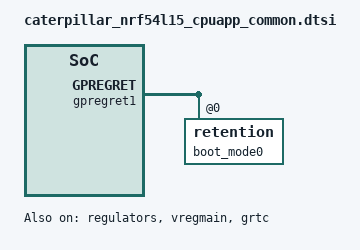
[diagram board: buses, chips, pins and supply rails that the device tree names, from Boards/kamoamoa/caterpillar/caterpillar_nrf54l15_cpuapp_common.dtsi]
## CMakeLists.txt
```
cmake_minimum_required(VERSION 3.20.0)

# Adding board defined in this project to the board searching list
list(APPEND BOARD_ROOT ${CMAKE_CURRENT_SOURCE_DIR})

find_package(Zephyr REQUIRED HINTS $ENV{ZEPHYR_BASE})
project(caterpillar)
# Embed the FLPR (RISC-V coprocessor) firmware into this image so app
# OTA updates carry it (version-atomic).  The FLPR is configured here on
# first use and incrementally rebuilt on every app build, so a plain
# `west build` of the app picks up FLPR source changes automatically.
set(FLPR_BUILD_DIR ${CMAKE_CURRENT_SOURCE_DIR}/build-flpr)
set(FLPR_BIN ${FLPR_BUILD_DIR}/zephyr/zephyr.bin)

# First-time bootstrap runs a nested west build; the outer (ARM) app
# configure leaks toolchain environment into it, which poisons the
# RISC-V compiler discovery (verified from a clean clone: FLPR files
# compiled with arm-zephyr-eabi-gcc).  Scrub those variables.
if(NOT EXISTS ${FLPR_BIN})
    message(STATUS "FLPR: first-time configure+build of ${FLPR_BUILD_DIR}")
    execute_process(
        COMMAND ${CMAKE_COMMAND} -E env
                --unset=CC --unset=CXX --unset=ASM
                --unset=CROSS_COMPILE --unset=TOOLCHAIN_HOME
                --unset=ZEPHYR_TOOLCHAIN_VARIANT
                --unset=CMAKE_TOOLCHAIN_FILE
                ${PYTHON_EXECUTABLE} -m west build
                -b caterpillar/nrf54l15/cpuflpr
                --build-dir ${FLPR_BUILD_DIR}
                ${CMAKE_CURRENT_SOURCE_DIR}/flpr --no-sysbuild --pristine
        WORKING_DIRECTORY ${CMAKE_CURRENT_SOURCE_DIR}
        RESULT_VARIABLE flpr_rc
    )
    if(NOT flpr_rc EQUAL 0 OR NOT EXISTS ${FLPR_BIN})
        message(FATAL_ERROR "FLPR build failed (see output above)")
    endif()
endif()

# The staged copy's mtime only changes when the FLPR binary content
# changed, so an unchanged FLPR does not re-embed or re-link the app.
set(FLPR_STAGED ${CMAKE_BINARY_DIR}/flpr_staged.bin)
execute_process(COMMAND ${CMAKE_COMMAND} -E copy_if_different
                        ${FLPR_BIN} ${FLPR_STAGED})
add_custom_target(flpr_build
    COMMAND ${CMAKE_COMMAND} --build ${FLPR_BUILD_DIR}
    COMMAND ${CMAKE_COMMAND} -E copy_if_different ${FLPR_BIN} ${FLPR_STAGED}
    BYPRODUCTS ${FLPR_STAGED}
    USES_TERMINAL
    COMMENT "FLPR: incremental rebuild"
)

set(FLPR_GEN_DIR ${ZEPHYR_BINARY_DIR}/misc/generated/flpr)
generate_inc_file_for_target(app ${FLPR_STAGED} ${FLPR_GEN_DIR}/flpr_image.inc)
add_dependencies(app flpr_build)
target_include_directories(app PRIVATE ${FLPR_GEN_DIR})

# Guard against settings drift: settings_gen.h (and protocol_limits.py,
# docs/settings.md) are generated MANUALLY from settings.yml and
# committed — the build itself has no pyyaml dependency.  This check
# makes forgetting to regenerate a hard error instead of silent drift.
set_property(DIRECTORY APPEND PROPERTY CMAKE_CONFIGURE_DEPENDS
             ${CMAKE_CURRENT_SOURCE_DIR}/settings.yml)
file(SHA1 ${CMAKE_CURRENT_SOURCE_DIR}/settings.yml SETTINGS_YML_SHA1)
file(READ ${CMAKE_CURRENT_SOURCE_DIR}/src/settings/settings_gen.h
     SETTINGS_GEN_CONTENT)
string(FIND "${SETTINGS_GEN_CONTENT}" "${SETTINGS_YML_SHA1}" SETTINGS_HASH_POS)
if(SETTINGS_HASH_POS EQUAL -1)
    message(FATAL_ERROR
        "settings.yml changed but generated files are stale.\n"
        "Run:  python scripts/generate_settings.py")
endif()

target_sources(app PRIVATE
    src/main.c
    src/app/app.c
    src/app/session.c
    src/app/device_cmd.c
    src/imu/imu_pump.c
    src/imu/imu_log.c
    src/imu/flpr_launch.c
    src/settings/settings_store.c
    src/ble/ble_interface.c
    src/ble/ble_transport.c
    src/drivers/driver_stbb1_apur.c
    src/drivers/driver_drv8212.c
    src/drivers/max5419.c
    src/drivers/driver_pwm.c
    src/drivers/driver_led.c
    src/drivers/driver_vdc_sense.c
)

# For common/imu_shared.h (shared with the FLPR image)
# Repo root (for common/imu_shared.h) and src/ (module-qualified
# includes: "app/session.h", "imu/imu_log.h", "ble/ble_transport.h"...)
target_include_directories(app PRIVATE
    ${CMAKE_CURRENT_SOURCE_DIR}
    ${CMAKE_CURRENT_SOURCE_DIR}/src)
```

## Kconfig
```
source "Kconfig.zephyr"

config MYFUNC
    bool "Enable my function"
    default n
```

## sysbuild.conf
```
# OTA DFU: MCUboot bootloader, simplest configuration.
#
# No signature key is configured on purpose — the build auto-signs with
# the SDK's public development key (warns "not secure"; accepted: this
# is a research device and DFU is intentionally open).
#
# Overwrite-only: uploaded image replaces the app on next reset, no
# swap/revert machinery.  A broken update is recovered over SWD.
SB_CONFIG_BOOTLOADER_MCUBOOT=y
SB_CONFIG_MCUBOOT_MODE_OVERWRITE_ONLY=y
```

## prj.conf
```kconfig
CONFIG_PRINTK=y
CONFIG_LOG=y

# LFRC (no 32k crystal): declare BLE-max sleep-clock inaccuracy and
# calibrate often — motor/DCDC noise perturbs the RC between calibrations
# (MPSL ASSERT 67,129 seen with 250ppm/4s while the motor runs)
CONFIG_CLOCK_CONTROL_NRF_K32SRC_500PPM=y
CONFIG_CLOCK_CONTROL_NRF_CALIBRATION_PERIOD=1000
CONFIG_MPSL_CALIBRATION_PERIOD=1000
# Large RTT up-buffer so full boot logs survive until a reader attaches
CONFIG_SEGGER_RTT_BUFFER_SIZE_UP=8192

CONFIG_I2C=y

# (IMU/spi21 is owned by the FLPR coprocessor — see flpr/)

# VDC sense on SAADC AIN4
CONFIG_ADC=y

# Reset-cause logging at boot
CONFIG_HWINFO=y

# BLE — peripheral GATT server, Write-Without-Response
CONFIG_BT=y
CONFIG_BT_PERIPHERAL=y
# Fleet identity: the real name is set at runtime ("Cat-NN" from the
# robot_id setting, or "Cat-XXXX" from the chip id while unassigned)
CONFIG_BT_DEVICE_NAME="Cat-??"
CONFIG_BT_DEVICE_NAME_DYNAMIC=y
CONFIG_BT_MAX_CONN=1
CONFIG_BT_MAX_PAIRED=1

# --- OTA DFU: MCUmgr SMP over BLE (open, dev-key signed images) ---
# MCUMGR *depends on* (doesn't select) these:
CONFIG_ZCBOR=y
CONFIG_NET_BUF=y
CONFIG_CRC=y
CONFIG_MCUMGR=y
CONFIG_MCUMGR_TRANSPORT_BT=y
CONFIG_MCUMGR_TRANSPORT_BT_REASSEMBLY=y
# Let clients query our buffer size so they use full-size upload chunks
CONFIG_MCUMGR_GRP_OS_MCUMGR_PARAMS=y
# Erase the target slot page-by-page during upload instead of all
# upfront — the bulk erase costs ~14 s on RRAM (measured) and stalls
# the first upload chunk
CONFIG_IMG_ERASE_PROGRESSIVELY=y
# Renegotiate fast connection parameters while SMP traffic is active
# (Windows defaults to lazy ~60 ms intervals otherwise), relax after.
# Wide request window (7.5–30 ms): Windows rejects narrow aggressive
# requests outright but will grant ~15 ms from a range it likes.
CONFIG_MCUMGR_TRANSPORT_BT_CONN_PARAM_CONTROL=y
CONFIG_MCUMGR_TRANSPORT_BT_CONN_PARAM_CONTROL_MIN_INT=6
CONFIG_MCUMGR_TRANSPORT_BT_CONN_PARAM_CONTROL_MAX_INT=24
CONFIG_MCUMGR_GRP_IMG=y
CONFIG_MCUMGR_GRP_OS=y
CONFIG_IMG_MANAGER=y
CONFIG_STREAM_FLASH=y
CONFIG_FLASH=y
CONFIG_FLASH_MAP=y
CONFIG_REBOOT=y
# Big SMP frames: each request/response cycle carries ~16 KB, amortizing
# the per-chunk round-trip stall (the fragments themselves stream as
# pipelined writes).  Two buffers instead of four to keep RAM in check.
CONFIG_MCUMGR_TRANSPORT_NETBUF_SIZE=16384
CONFIG_MCUMGR_TRANSPORT_NETBUF_COUNT=2
CONFIG_BT_L2CAP_TX_MTU=498
CONFIG_BT_BUF_ACL_RX_SIZE=502
# More RX buffers = more packets absorbed per connection event
CONFIG_BT_BUF_ACL_RX_COUNT_EXTRA=6
# Allow the app to request 2M PHY after connecting
CONFIG_BT_USER_PHY_UPDATE=y
# NOTE: raising BT_CONN_TX_MAX / L2CAP_TX_BUF_COUNT to 8 was measured
# to make FLPR ring overruns WORSE (34-40% vs 5-8% at 6.66 kHz): more
# queued PDUs = longer radio events, and radio time preempts all
# threads at ISR level, starving the pump.  Keep stack defaults (3);
# the credit-paced senders (<=2 in flight) fit within them.
```

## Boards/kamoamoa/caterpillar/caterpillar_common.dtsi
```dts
#include "caterpillar_nrf54l15-pinctrl.dtsi"

/ {
	aliases {
		watchdog0 = &wdt31;
	};
};

&i2c20 {
	status = "okay";
	pinctrl-0 = <&i2c20_default>;
	pinctrl-1 = <&i2c20_sleep>;
	pinctrl-names = "default", "sleep";
};

&pwm20 {
	status = "okay";
	pinctrl-0 = <&pwm20_default>;
	pinctrl-1 = <&pwm20_sleep>;
	pinctrl-names = "default", "sleep";
};
```

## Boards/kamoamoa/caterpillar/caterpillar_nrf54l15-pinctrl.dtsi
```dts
&pinctrl {
	i2c20_default: i2c20_default {
		group1 {
			psels = <NRF_PSEL(TWIM_SDA, 1, 2)>,
				    <NRF_PSEL(TWIM_SCL, 1, 3)>;
		};
	};

	i2c20_sleep: i2c20_sleep {
		group1 {
			psels = <NRF_PSEL(TWIM_SDA, 1, 2)>,
				    <NRF_PSEL(TWIM_SCL, 1, 3)>;
			low-power-enable;
		};
	};

	pwm20_default: pwm20_default {
		group1 {
			/* PWM_OUT0 = IN1, PWM_OUT1 = IN2 */
			psels = <NRF_PSEL(PWM_OUT0, 1, 7)>,
				    <NRF_PSEL(PWM_OUT1, 1, 8)>;
		};
	};

	pwm20_sleep: pwm20_sleep {
		group1 {
			psels = <NRF_PSEL(PWM_OUT0, 1, 7)>,
				    <NRF_PSEL(PWM_OUT1, 1, 8)>;
			low-power-enable;
		};
	};
};
```

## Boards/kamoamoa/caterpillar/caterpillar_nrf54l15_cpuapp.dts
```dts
/*
 * Copyright (c) 2024 Nordic Semiconductor ASA
 *
 * SPDX-License-Identifier: Apache-2.0
 */

/dts-v1/;

#include <nordic/nrf54l15_cpuapp.dtsi>
#include "caterpillar_nrf54l15_cpuapp_common.dtsi"

/ {
	compatible = "caterpillar,nrf54l15-cpuapp";
	model = "Caterpillar nRF54L15 Application MCU";

	chosen {
		zephyr,code-partition = &slot0_partition;
		zephyr,sram = &cpuapp_sram;
	};
};

/* Include default memory partition configuration file */
#include <vendor/nordic/nrf54l15_cpuapp_partition.dtsi>
```

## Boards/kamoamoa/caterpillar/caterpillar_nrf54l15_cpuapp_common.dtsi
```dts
/*
 * Copyright (c) 2024 Nordic Semiconductor ASA
 * SPDX-License-Identifier: Apache-2.0
 */

#include "caterpillar_common.dtsi"

/ {
	chosen {
		zephyr,flash-controller = &rram_controller;
		zephyr,flash = &cpuapp_rram;
		zephyr,sram = &cpuapp_sram;
		zephyr,boot-mode = &boot_mode0;
	};
};

&cpuapp_sram {
	status = "okay";
};

&lfxo {
	status = "disabled";
};

&hfxo {
	load-capacitors = "internal";
	load-capacitance-femtofarad = <15000>;
};

&regulators {
	status = "okay";
};

&vregmain {
	status = "okay";
	regulator-initial-mode = <NRF5X_REG_MODE_DCDC>;
};

&grtc {
	owned-channels = <0 1 2 3 4 5 6 7 8 9 10 11>;
	child-owned-channels = <3 4 7 8 9 10 11>;
	status = "okay";
};

&gpio0 {
	status = "okay";
};

&gpio1 {
	status = "okay";
};

&gpio2 {
	status = "okay";
};

&gpiote20 {
	status = "okay";
};

&gpiote30 {
	status = "okay";
};

&clock {
	status = "okay";
};

&gpregret1 {
	status = "okay";

	boot_mode0: boot_mode@0 {
		compatible = "zephyr,retention";
		status = "okay";
		reg = <0x0 0x1>;
	};
};

// Using NFC pins as i2c bus
&uicr {
    nfct-pins-as-gpios;
};

&nfct {
    status = "disabled";
};
```

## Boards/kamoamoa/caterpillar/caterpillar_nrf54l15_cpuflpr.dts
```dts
/*
 * Copyright (c) 2024 Nordic Semiconductor ASA
 *
 * SPDX-License-Identifier: Apache-2.0
 */

/dts-v1/;
#include <nordic/nrf54l15_cpuflpr.dtsi>
#include "caterpillar_common.dtsi"

/delete-node/ &cpuflpr_sram;

/ {
	model = "Nordic nRF54L15 DK nRF54L15 FLPR MCU";
	compatible = "nordic,nrf54l15dk_nrf54l15-cpuflpr";

	chosen {
		zephyr,console = &uart30;
		zephyr,shell-uart = &uart30;
		zephyr,code-partition = &cpuflpr_code_partition;
		zephyr,flash = &cpuflpr_rram;
		zephyr,sram = &cpuflpr_sram;
	};

	cpuflpr_sram: memory@20028000 {
		compatible = "mmio-sram";
		/* Size must be increased due to booting from SRAM */
		reg = <0x20028000 DT_SIZE_K(96)>;
		#address-cells = <1>;
		#size-cells = <1>;
		ranges = <0x0 0x20028000 0x18000>;
		status = "okay";
	};
};

&cpuflpr_rram {
	partitions {
		compatible = "fixed-partitions";
		#address-cells = <1>;
		#size-cells = <1>;

		cpuflpr_code_partition: partition@0 {
			label = "image-0";
			reg = <0x0 DT_SIZE_K(96)>;
		};
	};
};

&grtc {
	owned-channels = <3 4>;
	status = "okay";
};

&uart30 {
	status = "okay";
};

&gpio0 {
	status = "okay";
};

&gpio1 {
	status = "okay";
};

&gpio2 {
	status = "okay";
};

&gpiote20 {
	status = "okay";
};

&gpiote30 {
	status = "okay";
};

/*
 * Note this SPI instance conflicts with UART30. Disable or reconfigure pinctrl for UART30
 * to use this SPI instance.
 */
nordic_expansion_spi: &spi22 {
	cs-gpios = <&gpio1 10 GPIO_ACTIVE_LOW>;
	pinctrl-0 = <&spi22_default>;
	pinctrl-1 = <&spi22_sleep>;
	pinctrl-names = "default", "sleep";
};
```

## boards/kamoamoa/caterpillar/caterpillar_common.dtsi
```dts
#include "caterpillar_nrf54l15-pinctrl.dtsi"
#include <zephyr/dt-bindings/adc/adc.h>
#include <zephyr/dt-bindings/adc/nrf-adc.h>

/ {
	aliases {
		watchdog0 = &wdt31;
	};

	zephyr,user {
		io-channels = <&adc 0>;
	};
};

/* VDC sense: motor rail → 100k/100k divider → AIN4 (P1.11), 100nF filter.
 * Gain 1/4 on the 0.9 V internal reference = 3.6 V full scale at the pin;
 * long acquisition time for the 50 kΩ divider source impedance.
 */
&adc {
	status = "okay";
	#address-cells = <1>;
	#size-cells = <0>;

	channel@0 {
		reg = <0>;
		zephyr,gain = "ADC_GAIN_1_4";
		zephyr,reference = "ADC_REF_INTERNAL";
		zephyr,acquisition-time = <ADC_ACQ_TIME(ADC_ACQ_TIME_MICROSECONDS, 20)>;
		zephyr,input-positive = <NRF_SAADC_AIN4>;
		zephyr,resolution = <12>;
	};
};

/* Digipot (MAX5419) only — the IMU moved to spi21 */
&i2c20 {
	status = "okay";
	pinctrl-0 = <&i2c20_default>;
	pinctrl-1 = <&i2c20_sleep>;
	pinctrl-names = "default", "sleep";
};

/* IMU (ASM330LHHTR).  CS is P1.09, driven as a GPIO by the IMU driver. */
&spi21 {
	status = "okay";
	pinctrl-0 = <&spi21_default>;
	pinctrl-1 = <&spi21_sleep>;
	pinctrl-names = "default", "sleep";
};

&pwm20 {
	status = "okay";
	pinctrl-0 = <&pwm20_default>;
	pinctrl-1 = <&pwm20_sleep>;
	pinctrl-names = "default", "sleep";
};
```

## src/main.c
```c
/*
 * Caterpillar — Motor Control + IMU Firmware
 * Custom nRF54L15 board (caterpillar/nrf54l15/cpuapp)
 *
 * Trivial entry point; see src/app.c for the boot sequence and
 * health-monitor loop.
 */

#include "app/app.h"

int main(void)
{
    app_init();
    app_run();      /* never returns */
    return 0;
}
```

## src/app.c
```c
/*
 * Application lifecycle — boot sequence + health monitor.
 *
 * Boot leaves the motor idle (rail off, driver asleep, duty 0): every
 * run is started explicitly over BLE by the GUI or script.  IMU
 * sampling runs on the FLPR coprocessor, on demand; the pump thread
 * drains its shared-SRAM ring into the flash log and the live stream.
 */

#include "app.h"

#include <zephyr/kernel.h>
#include <zephyr/sys/printk.h>
#include <zephyr/logging/log.h>
#include <zephyr/drivers/hwinfo.h>
#include <app_version.h>

#include "drivers/driver_stbb1_apur.h"
#include "drivers/driver_drv8212.h"
#include "drivers/max5419.h"
#include "drivers/driver_pwm.h"
#include "drivers/driver_led.h"
#include "drivers/driver_vdc_sense.h"
#include "interface/ble_interface.h"
#include "interface/ble_transport.h"
#include "session.h"
#include "imu_pump.h"
#include "imu_log.h"
#include "settings_store.h"
#include "flpr_launch.h"
#include "common/imu_shared.h"

LOG_MODULE_REGISTER(caterpillar_app, LOG_LEVEL_DBG);

/* Boot reset cause, exposed via the BLE status characteristic */
uint32_t app_reset_cause;

void app_init(void)
{
    printk("\n=== Caterpillar Boot ===\n");

    /* Announce why we booted — makes brown-out reset loops visible.
     * Kept in app_reset_cause for the BLE status characteristic.
     */
    if (hwinfo_get_reset_cause(&app_reset_cause) == 0) {
        LOG_INF("Reset cause: 0x%08x%s%s%s%s%s", app_reset_cause,
                (app_reset_cause & RESET_POR)      ? " POR/brownout" : "",
                (app_reset_cause & RESET_PIN)      ? " pin"          : "",
                (app_reset_cause & RESET_SOFTWARE) ? " soft"         : "",
                (app_reset_cause & RESET_WATCHDOG) ? " watchdog"     : "",
                (app_reset_cause & RESET_DEBUG)    ? " debug"        : "");
        (void)hwinfo_clear_reset_cause();
    }

    /* Persisted settings (registry generated from settings.yml) */
    settings_store_init();

    /* Status LED on — power/boot indicator until the heartbeat starts */
    if (drv_led_init() < 0) {
        LOG_ERR("Failed to init status LED");
    }

    /* Start the IMU coprocessor from the firmware embedded in this image */
    flpr_launch();

    /* VDC sense ADC (AIN4 / P1.11) */
    if (drv_vdc_sense_init() < 0) {
        LOG_ERR("Failed to init VDC sense");
    }

    /* MAX5419LETA digipot — pre-program the persisted VDC before any
     * enable (never the digipot's power-on default of ~1.0 V)
     */
    float vdc_v = (float)settings_get(SETTING_MOTOR_VDC_MV) / 1000.0f;

    if (max5419_init() != 0 || max5419_set_voltage(vdc_v) != 0) {
        LOG_ERR("Digipot voltage set failed");
    }

    /* Motor chain boots INACTIVE: rail off, driver asleep, duty 0 */
    if (drv_stbb1_apur_init() < 0) {
        LOG_ERR("Failed to init DCDC enable pin");
    }
    if (drv_drv8212_init() < 0) {
        LOG_ERR("Failed to init DRV8212");
    }
    if (drv_pwm_init() < 0) {
        LOG_ERR("Failed to init PWM");
    }

    /* Prime the drive waveform at 50 % duty (the fixed drive scheme —
     * amplitude is controlled via VDC, frequency via 0xFFE1).  With the
     * rail off and the driver asleep this moves nothing; enabling them
     * over BLE starts the motor.  Without this, duty stays 0 and the
     * rail/driver switches appear dead.
     */
    drv_pwm_set_duty(0, 50);
    (void)drv_pwm_set_frequency(settings_get(SETTING_MOTOR_FREQ_HZ));

    /* IMU flash log + ring pump */
    if (imu_log_init() < 0) {
        LOG_ERR("Failed to init IMU log");
    }
    (void)imu_pump_init();

    /* BLE GATT server — full control + data surface */
    if (ble_interface_init() < 0) {
        LOG_ERR("Failed to init BLE");
    }

    /* Boot marker into the tier-2 log ring (queryable via 0xFFF0
     * even though nobody is connected yet)
     */
    ble_msg("boot: fw v%u.%u.%u, reset cause 0x%08x",
            APP_VERSION_MAJOR, APP_VERSION_MINOR, APP_PATCHLEVEL,
            app_reset_cause);

    /* Alive indicator: 3 × 3 ms flashes per second (timer-driven) */
    drv_led_blink_start();
    if (settings_get(SETTING_LED_ENABLED) == 0) {
        drv_led_set_enabled(false);
    }
}

void app_run(void)
{
    /* Health monitor: IMU pipeline problems become BLE messages (and
     * local log lines).
     */
    struct imu_shared *sh = IMU_SHARED;
    bool flpr_announced = false;
    uint32_t last_drained = 0;
    uint32_t last_overrun = 0;
    uint32_t last_wdrop = 0;
    int64_t last_warn = 0;

    while (1) {
        k_msleep(1000);

        bool alive = (sh->magic == IMU_SHARED_MAGIC);
        int64_t now = k_uptime_get();

        if (alive && !flpr_announced) {
            flpr_announced = true;
            uint32_t v = sh->flpr_version;
            LOG_INF("FLPR running, fw v%u.%u.%u",
                    (v >> 16) & 0xFF, (v >> 8) & 0xFF, v & 0xFF);

            /* Arbitrate on-demand sampling with the persisted config
             * (no consumer at boot -> sensor stays powered down)
             */
            ble_stream_set_preview(settings_get(SETTING_PREVIEW_HZ));
            session_imu_run_update();
        }

        uint32_t drained = imu_pump_drained();
        uint32_t overrun = imu_pump_overrun();

        if (overrun != last_overrun) {
            ble_msg("IMU ring overrun: %u samples lost (total %u)",
                    overrun - last_overrun, overrun);
            last_overrun = overrun;
        }

        uint32_t wdrop = imu_log_write_dropped();

        if (wdrop > last_wdrop) {
            ble_msg("log write backlog: %u samples lost (total %u)",
                    wdrop - last_wdrop, wdrop);
        }
        last_wdrop = wdrop;

        if (now - last_warn >= 5000) {
            if (!alive) {
                last_warn = now;
                ble_msg("FLPR not running (no shared-memory magic)");
            } else if (!sh->imu_ok) {
                last_warn = now;
                ble_msg("IMU init failed (WHO_AM_I=0x%02x)", sh->whoami);
            } else if (drained == last_drained && session_imu_demand()) {
                /* Stalled only counts when something WANTS data —
                 * idle (powered-down) sampling is normal
                 */
                last_warn = now;
                ble_msg("IMU samples stalled at %u", drained);
            }
        }
        last_drained = drained;
    }
}
```

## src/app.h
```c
#ifndef APP_H
#define APP_H

#include <stdint.h>

/*
 * Application lifecycle (pattern from the biosensor project's app.c):
 * main() is a trivial entry; app_init() runs the boot sequence,
 * app_run() the health monitor loop (never returns).
 */

/** Boot reset cause (Zephyr hwinfo bits), for the status packet. */
extern uint32_t app_reset_cause;

void app_init(void);
void app_run(void);

#endif /* APP_H */
```

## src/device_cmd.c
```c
/*
 * Command work-queue — see device_cmd.h.
 */

#include "device_cmd.h"
#include "drivers/max5419.h"
#include "drivers/driver_vdc_sense.h"
#include "imu_log.h"
#include "settings_store.h"
#include "session.h"
#include "interface/ble_transport.h"

#include <zephyr/kernel.h>
#include <zephyr/logging/log.h>

LOG_MODULE_REGISTER(device_cmd, LOG_LEVEL_INF);

#define CMD_QUEUE_DEPTH 8

K_MSGQ_DEFINE(cmd_msgq, sizeof(struct device_cmd), CMD_QUEUE_DEPTH, 4);

int device_cmd_submit(const struct device_cmd *cmd)
{
    return k_msgq_put(&cmd_msgq, cmd, K_NO_WAIT);
}

static void execute(const struct device_cmd *cmd)
{
    switch (cmd->type) {
    case DEVICE_CMD_SET_VOLT_MV: {
        int ret = max5419_set_voltage((float)cmd->volt_mv / 1000.0f);

        if (ret < 0) {
            ble_msg("VDC set to %u mV failed (%d)", cmd->volt_mv, ret);
            break;
        }
        settings_set(SETTING_MOTOR_VDC_MV, cmd->volt_mv);
        /* Converter settle, then verify the rail for the log */
        k_msleep(20);
        int32_t meas_mv = 0;

        if (drv_vdc_sense_read_mv(&meas_mv) == 0) {
            LOG_INF("VDC -> %u mV (measured %d mV)", cmd->volt_mv, meas_mv);
        }
        break;
    }
    case DEVICE_CMD_LOG:
        switch (cmd->log.op) {
        case DEVICE_LOG_OP_STOP:
            imu_log_stop();
            session_on_log_stopped();
            break;
        case DEVICE_LOG_OP_START:
            if (imu_log_start(1) == 0) {
                session_on_log_started();
            }
            break;
        case DEVICE_LOG_OP_ERASE:
            imu_log_erase();
            break;
        default:
            break;
        }
        break;
    default:
        break;
    }
}

static void cmd_thread(void *a, void *b, void *c)
{
    ARG_UNUSED(a); ARG_UNUSED(b); ARG_UNUSED(c);

    struct device_cmd cmd;

    while (1) {
        k_msgq_get(&cmd_msgq, &cmd, K_FOREVER);
        execute(&cmd);
    }
}

K_THREAD_DEFINE(device_cmd_tid, 2048, cmd_thread, NULL, NULL, NULL, 10, 0, 0);
```

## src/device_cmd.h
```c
#ifndef DEVICE_CMD_H
#define DEVICE_CMD_H

#include <stdint.h>

/*
 * Command work-queue: slow device operations execute on a dedicated
 * thread instead of the Bluetooth RX thread.
 *
 * Rationale (pattern borrowed from the biosensor project's
 * device_interface): a GATT write handler runs in the BT RX thread,
 * so anything slow there stalls ALL inbound BLE traffic.  The worst
 * offender was the VDC ramp (10 ms/tap, up to ~1.5 s for a full
 * swing); log stop can also wait up to ~1 s for the flash writer to
 * drain.  Handlers now validate + enqueue and return immediately; an
 * acknowledged write means "accepted", with effects visible through
 * the status poll.
 */

enum device_cmd_type {
    DEVICE_CMD_SET_VOLT_MV,   /* MAX5419 ramp + verify (slow)   */
    DEVICE_CMD_LOG,           /* session start/stop/erase (slow) */
};

/* DEVICE_CMD_LOG operations (wire values of the 0xFFEA command byte) */
#define DEVICE_LOG_OP_STOP   0
#define DEVICE_LOG_OP_START  1
#define DEVICE_LOG_OP_ERASE  2

struct device_cmd {
    uint8_t type;
    union {
        uint16_t volt_mv;
        struct {
            uint8_t op;       /* LOGCTL_CMD_* */
        } log;
    };
};

/* Enqueue a command.  Returns 0 or -ENOSPC when the queue is full. */
int device_cmd_submit(const struct device_cmd *cmd);

#endif /* DEVICE_CMD_H */
```

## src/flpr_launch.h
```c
#ifndef FLPR_LAUNCH_H
#define FLPR_LAUNCH_H

/**
 * @brief Copy the embedded FLPR firmware into coprocessor SRAM and
 * start the RISC-V core.  Call once, early in main().
 */
void flpr_launch(void);

#endif /* FLPR_LAUNCH_H */
```

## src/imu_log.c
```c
/*
 * Multi-session IMU sample log in RRAM — see imu_log.h.
 *
 * Physical layout (absolute flash offsets):
 *   0xB9000..0xBA000   RESERVED, never written: MCUboot reads the
 *                      secondary-slot image header here on every boot
 *                      and ERASES this block if it holds non-FF bytes
 *                      that aren't a valid image (verified: it wiped
 *                      an earlier directory placed at 0xB9000).  Kept
 *                      erased, MCUboot skips the slot untouched.
 *   0xBA000..0xBA220   directory meta (32 B: layout + firmware stamp)
 *                      + 16 x 32 B session entries.  A DFU upload
 *                      overwrites this with image bytes; on the first
 *                      boot of ANY new/reflashed firmware the stamp
 *                      mismatches and every session slot is wiped.
 *   0xBA220..0x163F80  record ring (last 128 B of the slot reserved so
 *                      log data can never look like an MCUboot trailer)
 *
 * The ex-FLPR region at 0x165000 is deliberately NOT used: the app
 * core's flash device (cpuapp_rram) ends at 0x165000, so every access
 * beyond it fails with -EINVAL — writes there were silently lost and
 * dump reads wedged at the boundary (verified on hardware, "stuck at
 * 78-83%").  Extending the device range would change the partition
 * map and break OTA compatibility; 679 KB in-range is the honest size.
 *
 * Records live in ONE ring addressed by an absolute record counter
 * (total_abs); a session is just a [start, start+count) range of that
 * counter, remembered in its directory entry.  RRAM needs no erase,
 * so entries are freely overwritten in place.
 */

#include "imu_log.h"
#include "settings_store.h"
#include "session.h"                    /* session_wall_now() */
#include "interface/ble_transport.h"    /* ble_msg() */

#include <zephyr/kernel.h>
#include <zephyr/drivers/flash.h>
#include <zephyr/logging/log.h>
#include <app_version.h>
#include <string.h>

LOG_MODULE_REGISTER(imu_log, LOG_LEVEL_INF);

#define FLASH_DEV  DEVICE_DT_GET(DT_CHOSEN(zephyr_flash_controller))

#define REGION_A_BASE   0xB9000UL
#define REGION_A_SIZE   0xAB000UL
#define TRAILER_RESERVE 128UL
#define HDR_RESERVE     0x1000UL       /* MCUboot's header erase block */

#define ENTRY_MAGIC     0x53455353UL   /* "SESS" */
#define ENTRY_SIZE      32UL
#define DIR_BASE        (REGION_A_BASE + HDR_RESERVE)
/* meta block + session entries */
#define DIR_BYTES       ((IMU_LOG_MAX_SESSIONS + 1) * ENTRY_SIZE)

#define META_MAGIC      0x474F4C43UL   /* "CLOG" */
#define META_LAYOUT     2              /* v2: single-region ring */

struct dir_meta {
    uint32_t magic;
    uint32_t layout;
    uint32_t fw_version;   /* 0x00MMmmpp of the firmware that owns it */
    uint32_t rsvd[5];
};
BUILD_ASSERT(sizeof(struct dir_meta) == ENTRY_SIZE);

#define REC_SIZE        ((uint32_t)sizeof(struct imu_sample))   /* 16 */
#define DATA_CAPACITY   (REGION_A_SIZE - HDR_RESERVE - DIR_BYTES - \
                         TRAILER_RESERVE)
#define REC_CAPACITY    (DATA_CAPACITY / REC_SIZE)
#define DATA_BASE       (DIR_BASE + DIR_BYTES)

/* Every flash op waits for an MPSL radio timeslot
 * (SOC_FLASH_NRF_RADIO_SYNC_MPSL) — measured ~30 ms per call while
 * BLE streams.  Writes therefore run in a dedicated writer thread fed
 * from a big SRAM staging ring, in 4 KB batches so one timeslot wait
 * amortizes over 256 records.  The pump-side append is a pure memcpy.
 */
#define STAGE_N          1536  /* staged records (24 KB, ~230 ms @6.66 kHz) */
#define BATCH_RECS       256   /* records per flash_write (4 KB) */
#define DIR_REFRESH_RECS 512   /* persist rec_count every N records */

struct dir_entry {
    uint32_t magic;
    uint32_t seq;
    uint32_t start_rec;    /* absolute record index */
    uint32_t rec_count;
    uint32_t wall_start;
    uint8_t  odr_code, content, accel_fs, gyro_fs;
    uint8_t  policy;
    uint8_t  open;
    uint8_t  rsvd[2];
    uint32_t rsvd2;
};
BUILD_ASSERT(sizeof(struct dir_entry) == ENTRY_SIZE);

static const struct device *flash_dev;
static K_MUTEX_DEFINE(log_lock);

static uint32_t total_abs;       /* records ever written (ring position) */
static uint32_t seq_next = 1;

static bool     active;
static uint32_t cur_seq;
static uint32_t cur_start;       /* absolute */
static uint32_t cur_count;
static uint32_t cur_slot;
static uint32_t last_dir_refresh;

/* SPSC staging ring: producer = pump (imu_log_append), consumer =
 * writer thread.  Same-core, so volatile indices suffice.
 */
static struct imu_sample stage[STAGE_N];
static volatile uint32_t stage_head, stage_tail;
static uint32_t log_dropped;         /* staged ring full — samples lost */
static struct imu_sample batch[BATCH_RECS];
static K_SEM_DEFINE(writer_wake, 0, 1);

/* ---- directory helpers --------------------------------------------------- */

static uint32_t entry_addr(uint32_t slot)
{
    return DIR_BASE + (slot + 1) * ENTRY_SIZE;   /* slot 0 after meta */
}

#define FW_VERSION_WORD  (((uint32_t)APP_VERSION_MAJOR << 16) | \
                          ((uint32_t)APP_VERSION_MINOR << 8) | \
                          (uint32_t)APP_PATCHLEVEL)

/* Wipe every session slot and stamp the directory as owned by the
 * running firmware.
 */
static void dir_wipe_and_stamp(void)
{
    uint8_t ff[DIR_BYTES];
    struct dir_meta meta = {
        .magic = META_MAGIC,
        .layout = META_LAYOUT,
        .fw_version = FW_VERSION_WORD,
    };
    memset(&meta.rsvd, 0xFF, sizeof(meta.rsvd));

    memset(ff, 0xFF, sizeof(ff));
    (void)flash_write(flash_dev, DIR_BASE, ff, sizeof(ff));
    (void)flash_write(flash_dev, DIR_BASE, &meta, sizeof(meta));
}

static int entry_read(uint32_t slot, struct dir_entry *e)
{
    return flash_read(flash_dev, entry_addr(slot), e, sizeof(*e));
}

static int entry_write(uint32_t slot, const struct dir_entry *e)
{
    return flash_write(flash_dev, entry_addr(slot), e, sizeof(*e));
}

static void entry_invalidate(uint32_t slot)
{
    struct dir_entry e;

    memset(&e, 0xFF, sizeof(e));
    e.magic = 0;
    (void)entry_write(slot, &e);
}

/* Oldest absolute record still physically present in the ring */
static uint32_t ring_floor(void)
{
    return (total_abs > REC_CAPACITY) ? total_abs - REC_CAPACITY : 0;
}

/* Drop directory entries whose data the write head has reached; the
 * BLE message makes the removal visible in the GUI console.
 */
static void invalidate_consumed(void)
{
    uint32_t floor = ring_floor();

    for (uint32_t i = 0; i < IMU_LOG_MAX_SESSIONS; i++) {
        struct dir_entry e;

        if (active && i == cur_slot) {
            continue;
        }
        if (entry_read(i, &e) != 0 || e.magic != ENTRY_MAGIC) {
            continue;
        }
        if (e.start_rec < floor) {
            entry_invalidate(i);
            ble_msg("session #%u overwritten by session #%u — removed",
                    e.seq, cur_seq);
        }
    }
}

static void dir_refresh_current(bool closing)
{
    struct dir_entry e;

    if (entry_read(cur_slot, &e) != 0 || e.magic != ENTRY_MAGIC) {
        return;
    }
    e.rec_count = cur_count;
    e.open = closing ? 0 : 1;
    (void)entry_write(cur_slot, &e);
    last_dir_refresh = cur_count;
}

/* ---- ring data helpers (byte offsets inside the record ring) ------------- */

static int phys_rw(uint32_t off, uint8_t *buf, uint32_t len, bool write)
{
    return write
        ? flash_write(flash_dev, DATA_BASE + off, buf, len)
        : flash_read(flash_dev, DATA_BASE + off, buf, len);
}

/* ---- writer thread ------------------------------------------------------- */

/* Drain up to BATCH_RECS staged records into flash as ONE write call
 * (one radio-timeslot wait).  Runs with log_lock held.
 */
static void writer_drain_batch(void)
{
    uint32_t avail = stage_head - stage_tail;
    uint32_t n = MIN(avail, (uint32_t)BATCH_RECS);

    if (n == 0) {
        return;
    }

    /* Clamp to the flash-ring wrap so the write stays contiguous */
    uint32_t ring_pos = total_abs % REC_CAPACITY;

    n = MIN(n, REC_CAPACITY - ring_pos);

    for (uint32_t i = 0; i < n; i++) {
        batch[i] = stage[(stage_tail + i) % STAGE_N];
    }

    int ret = phys_rw(ring_pos * REC_SIZE, (uint8_t *)batch,
                      n * REC_SIZE, true);
    if (ret < 0) {
        LOG_ERR("log flash write @%u: %d", ring_pos * REC_SIZE, ret);
    }

    stage_tail = stage_tail + n;
    total_abs += n;
    cur_count += n;

    if (cur_count - last_dir_refresh >= DIR_REFRESH_RECS) {
        dir_refresh_current(false);
        invalidate_consumed();   /* circular may eat old sessions */
    }
}

static void writer_thread(void *a, void *b, void *c)
{
    ARG_UNUSED(a); ARG_UNUSED(b); ARG_UNUSED(c);

    while (1) {
        k_sem_take(&writer_wake, K_MSEC(20));

        while (active && stage_head != stage_tail) {
            k_mutex_lock(&log_lock, K_FOREVER);
            writer_drain_batch();
            k_mutex_unlock(&log_lock);
        }
    }
}

K_THREAD_DEFINE(imu_log_writer_tid, 2048, writer_thread,
                NULL, NULL, NULL, 6, 0, 0);

/* Block until the writer has persisted everything staged so far
 * (bounded); used by stop so directory counts are final.
 */
static void writer_flush(void)
{
    for (int i = 0; i < 200 && stage_head != stage_tail; i++) {
        k_sem_give(&writer_wake);
        k_msleep(5);
    }
}

/* ---- public API ---------------------------------------------------------- */

int imu_log_init(void)
{
    flash_dev = FLASH_DEV;
    if (!device_is_ready(flash_dev)) {
        LOG_ERR("flash controller not ready");
        return -ENODEV;
    }

    /* A directory is only trusted if it was written by THIS firmware:
     * a DFU upload overwrites it with image bytes, and even a same-
     * layout directory from older firmware describes data the upload
     * may have destroyed.  Anything else -> wipe all session slots.
     */
    struct dir_meta meta;

    if (flash_read(flash_dev, DIR_BASE, &meta, sizeof(meta)) != 0 ||
        meta.magic != META_MAGIC || meta.layout != META_LAYOUT ||
        meta.fw_version != FW_VERSION_WORD) {
        dir_wipe_and_stamp();
        LOG_INF("IMU log: directory wiped (new firmware v%u.%u.%u)",
                APP_VERSION_MAJOR, APP_VERSION_MINOR, APP_PATCHLEVEL);
        LOG_INF("IMU log: %u KB ring (%u records), 0 stored sessions",
                (unsigned)(DATA_CAPACITY / 1024), (unsigned)REC_CAPACITY);
        return 0;
    }

    /* Rebuild RAM state from the directory (sessions survive reboot) */
    int found = 0;

    for (uint32_t i = 0; i < IMU_LOG_MAX_SESSIONS; i++) {
        struct dir_entry e;

        if (entry_read(i, &e) != 0 || e.magic != ENTRY_MAGIC) {
            continue;
        }
        if (e.rec_count == 0xFFFFFFFFUL) {
            e.rec_count = 0;   /* died before the first refresh */
        }
        if (e.open) {
            e.open = 0;        /* close sessions cut off by reset */
            (void)entry_write(i, &e);
        }
        uint32_t end = e.start_rec + e.rec_count;
        if (end > total_abs) {
            total_abs = end;
        }
        if (e.seq >= seq_next) {
            seq_next = e.seq + 1;
        }
        found++;
    }

    LOG_INF("IMU log: %u KB ring (%u records), %d stored session(s), "
            "next seq %u", (unsigned)(DATA_CAPACITY / 1024),
            (unsigned)REC_CAPACITY, found, seq_next);
    return 0;
}

int imu_log_start(uint8_t policy)
{
    ARG_UNUSED(policy);   /* storage is always circular */

    k_mutex_lock(&log_lock, K_FOREVER);
    if (active) {
        k_mutex_unlock(&log_lock);
        return -EBUSY;
    }

    cur_seq = seq_next++;
    cur_slot = (cur_seq - 1) % IMU_LOG_MAX_SESSIONS;
    cur_start = total_abs;
    cur_count = 0;
    last_dir_refresh = 0;
    stage_tail = stage_head;     /* discard any stale staged records */
    log_dropped = 0;

    /* Stamp the header from the persisted settings — the shared block
     * may still read content=0 at this instant (on-demand sampling is
     * enabled right after start).
     */
    struct dir_entry e = {
        .magic = ENTRY_MAGIC,
        .seq = cur_seq,
        .start_rec = cur_start,
        .rec_count = 0,
        .wall_start = session_wall_now(),
        .odr_code = (uint8_t)settings_get(SETTING_IMU_ODR_CODE),
        .content = (uint8_t)settings_get(SETTING_IMU_CONTENT),
        .accel_fs = (uint8_t)settings_get(SETTING_IMU_ACCEL_FS),
        .gyro_fs = (uint8_t)settings_get(SETTING_IMU_GYRO_FS),
        .policy = IMU_LOG_POLICY_CIRCULAR,
        .open = 1,
    };
    int ret = entry_write(cur_slot, &e);
    if (ret < 0) {
        LOG_ERR("session entry write: %d", ret);
        k_mutex_unlock(&log_lock);
        return ret;
    }

    /* Reusing this directory slot means its 16-sessions-ago occupant
     * disappears from the list too — surface that like an overwrite.
     */
    active = true;
    k_mutex_unlock(&log_lock);
    LOG_INF("IMU log session %u start (wall %u)", cur_seq, e.wall_start);
    return 0;
}

void imu_log_stop(void)
{
    if (!active) {
        return;
    }

    /* Let the writer persist everything staged, then finalize */
    writer_flush();

    k_mutex_lock(&log_lock, K_FOREVER);
    if (active) {
        active = false;
        dir_refresh_current(true);
        LOG_INF("IMU log session %u stop: %u records (%u dropped)",
                cur_seq, cur_count, log_dropped);
    }
    k_mutex_unlock(&log_lock);
}

void imu_log_erase(void)
{
    imu_log_stop();

    k_mutex_lock(&log_lock, K_FOREVER);
    dir_wipe_and_stamp();
    total_abs = 0;
    seq_next = 1;
    cur_count = 0;
    k_mutex_unlock(&log_lock);
    LOG_INF("IMU log directory erased");
}

bool imu_log_active(void)             { return active; }
uint8_t imu_log_policy(void)          { return IMU_LOG_POLICY_CIRCULAR; }
uint32_t imu_log_capacity_bytes(void) { return DATA_CAPACITY; }

uint32_t imu_log_bytes_stored(void)
{
    uint32_t recs = (cur_count > REC_CAPACITY) ? REC_CAPACITY : cur_count;
    return recs * REC_SIZE;
}

uint32_t imu_log_records_total(void) { return cur_count; }
uint32_t imu_log_write_dropped(void) { return log_dropped; }

void imu_log_append(const struct imu_sample *s, uint32_t n)
{
    if (!active) {
        return;
    }

    /* Pump context: stage only — no mutex, no flash, no blocking.
     * The writer thread persists in radio-timeslot-friendly batches.
     */
    for (uint32_t i = 0; i < n; i++) {
        if (stage_head - stage_tail >= STAGE_N) {
            log_dropped++;           /* flash can't keep up — counted */
            continue;
        }
        stage[stage_head % STAGE_N] = s[i];
        stage_head = stage_head + 1;
    }
    k_sem_give(&writer_wake);
}

int imu_log_session_list(struct imu_log_session *out, int max)
{
    struct { struct imu_log_session s; uint32_t sort; } tmp[IMU_LOG_MAX_SESSIONS];
    int n = 0;

    k_mutex_lock(&log_lock, K_FOREVER);
    uint32_t floor = ring_floor();

    for (uint32_t i = 0; i < IMU_LOG_MAX_SESSIONS; i++) {
        struct dir_entry e;

        if (entry_read(i, &e) != 0 || e.magic != ENTRY_MAGIC) {
            continue;
        }
        uint32_t count = (active && i == cur_slot) ? cur_count : e.rec_count;
        uint32_t start = e.start_rec;
        uint32_t end = start + count;
        if (end <= floor) {
            continue;               /* fully overwritten */
        }
        if (start < floor) {
            start = floor;          /* clip to what survives */
        }
        tmp[n].s = (struct imu_log_session){
            .seq = e.seq, .wall_start = e.wall_start,
            .rec_count = end - start,
            .odr_code = e.odr_code, .content = e.content,
            .accel_fs = e.accel_fs, .gyro_fs = e.gyro_fs,
        };
        tmp[n].sort = e.seq;
        n++;
    }
    k_mutex_unlock(&log_lock);

    /* Newest first (insertion sort, n <= 16) */
    for (int i = 1; i < n; i++) {
        for (int j = i; j > 0 && tmp[j].sort > tmp[j - 1].sort; j--) {
            __typeof__(tmp[0]) t = tmp[j];
            tmp[j] = tmp[j - 1];
            tmp[j - 1] = t;
        }
    }

    int cnt = MIN(n, max);
    for (int i = 0; i < cnt; i++) {
        out[i] = tmp[i].s;
    }
    return cnt;
}

int imu_log_read_session(uint32_t seq, uint32_t offset,
                         void *buf, uint32_t len)
{
    uint8_t *out = buf;
    uint32_t done = 0;

    k_mutex_lock(&log_lock, K_FOREVER);

    struct dir_entry e;
    bool found = false;

    for (uint32_t i = 0; i < IMU_LOG_MAX_SESSIONS; i++) {
        if (entry_read(i, &e) == 0 && e.magic == ENTRY_MAGIC &&
            e.seq == seq) {
            if (active && i == cur_slot) {
                e.rec_count = cur_count;
            }
            found = true;
            break;
        }
    }
    if (!found) {
        k_mutex_unlock(&log_lock);
        return 0;
    }

    uint32_t floor = ring_floor();
    uint32_t start = e.start_rec;
    uint32_t end = e.start_rec + e.rec_count;
    if (start < floor) {
        start = floor;
    }
    if (end <= start) {
        k_mutex_unlock(&log_lock);
        return 0;
    }

    uint32_t avail = (end - start) * REC_SIZE;
    if (offset >= avail) {
        k_mutex_unlock(&log_lock);
        return 0;
    }
    len = MIN(len, avail - offset);

    uint32_t abs_byte = start * REC_SIZE + offset;
    while (len > 0) {
        uint32_t ring_off = abs_byte % DATA_CAPACITY;
        uint32_t span = MIN(len, DATA_CAPACITY - ring_off);
        int ret = phys_rw(ring_off, out, span, false);
        if (ret < 0) {
            k_mutex_unlock(&log_lock);
            return ret;
        }
        abs_byte += span; out += span; len -= span; done += span;
    }

    k_mutex_unlock(&log_lock);
    return (int)done;
}
```

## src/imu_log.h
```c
#ifndef IMU_LOG_H
#define IMU_LOG_H

#include <stdint.h>
#include <stdbool.h>
#include "common/imu_shared.h"

/*
 * On-chip IMU sample log in RRAM, multi-session.
 *
 * Storage is dual-use with OTA: the MCUboot secondary slot plus the
 * former FLPR code region (~780 KB).  A DFU upload overwrites the log
 * and vice versa (installed firmware and the OTA mechanism itself are
 * unaffected) — dump before updating.
 *
 * Layout: a 16-entry session DIRECTORY (512 B) at the region start,
 * then one shared ring of 16 B records.  Sessions append after each
 * other; the directory persists across reboots, so old sessions stay
 * listable/dumpable until erased or overwritten.  Each entry carries
 * the sampling config and the wall-clock start time (from the 0xFFEE
 * sync), so any dump is self-describing.
 *
 * Storage is ALWAYS circular: a session runs from start until stop
 * (BLE) or BLE disconnect (the app auto-closes it), never stopping for
 * space.  When the write head reaches the beginning of an older
 * session's data, that session's directory entry is removed and a BLE
 * message (0xFFEC) announces it, so the GUI list stays truthful.
 * Power loss mid-session loses at most the last ~8 KB of that
 * session's accounting (the entry is refreshed every 512 records).
 */

#define IMU_LOG_POLICY_STOP     0   /* deprecated: no longer honored */
#define IMU_LOG_POLICY_CIRCULAR 1   /* the only behavior since v1.3.3 */

#define IMU_LOG_MAX_SESSIONS    16

/* Session summary as reported to the host */
struct imu_log_session {
    uint32_t seq;         /* monotonic session id */
    uint32_t wall_start;  /* unix epoch at start (0 = clock unsynced) */
    uint32_t rec_count;   /* readable records (clipped if overwritten) */
    uint8_t  odr_code, content, accel_fs, gyro_fs;
};

int  imu_log_init(void);

int  imu_log_start(uint8_t policy);
void imu_log_stop(void);
void imu_log_erase(void);            /* wipe the whole directory */

bool     imu_log_active(void);
uint8_t  imu_log_policy(void);
uint32_t imu_log_capacity_bytes(void);
uint32_t imu_log_bytes_stored(void);     /* current/last session bytes */
uint32_t imu_log_records_total(void);    /* current/last session records */

/* Append records (pump thread only). */
void imu_log_append(const struct imu_sample *s, uint32_t n);

/* List sessions, newest first.  Returns the number written to out. */
int imu_log_session_list(struct imu_log_session *out, int max);

/* Read a session's records (oldest-first) as a flat byte space.
 * offset/len in bytes relative to the session's readable data.
 * Returns bytes read (0 at end / unknown session), negative errno.
 */
int imu_log_read_session(uint32_t seq, uint32_t offset,
                         void *buf, uint32_t len);

#endif /* IMU_LOG_H */
```

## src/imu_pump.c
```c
/*
 * IMU ring-buffer pump — see imu_pump.h.
 *
 * Polls every 4 ms: at 6.66 kHz that is ~27 new records per pass, and
 * the 2048-record ring gives ~300 ms of slack before the FLPR starts
 * counting overruns, so BLE/flash hiccups are absorbed silently.
 */

#include "imu_pump.h"
#include "imu_log.h"

#include <zephyr/kernel.h>
#include <zephyr/sys/barrier.h>
#include <zephyr/logging/log.h>

LOG_MODULE_REGISTER(imu_pump, LOG_LEVEL_INF);

#define PUMP_PERIOD_MS   4
#define PUMP_CHUNK       64          /* records copied per inner pass */
#define PUMP_STACK_SIZE  2048
#define PUMP_PRIO        4           /* above the BLE RX/TX threads */

static imu_stream_sink_t volatile stream_sink;
static uint32_t drained_total;

void imu_pump_set_sink(imu_stream_sink_t sink)
{
    stream_sink = sink;
}

uint32_t imu_pump_overrun(void)
{
    struct imu_shared *sh = IMU_SHARED;
    return (sh->magic == IMU_SHARED_MAGIC) ? sh->overrun : 0;
}

uint32_t imu_pump_drained(void)
{
    return drained_total;
}

static void pump_thread(void *a, void *b, void *c)
{
    ARG_UNUSED(a); ARG_UNUSED(b); ARG_UNUSED(c);

    struct imu_shared *sh = IMU_SHARED;
    static struct imu_sample chunk[PUMP_CHUNK];

    while (1) {
        k_msleep(PUMP_PERIOD_MS);

        if (sh->magic != IMU_SHARED_MAGIC || !sh->imu_ok) {
            continue;
        }

        uint32_t head = sh->head;
        uint32_t tail = sh->tail;
        barrier_dmem_fence_full();   /* records published before head */

        while (tail != head) {
            uint32_t n = MIN(head - tail, (uint32_t)PUMP_CHUNK);

            for (uint32_t i = 0; i < n; i++) {
                volatile struct imu_sample *s =
                    &sh->ring[(tail + i) & (IMU_RING_N - 1)];
                chunk[i].ax = s->ax; chunk[i].ay = s->ay;
                chunk[i].az = s->az;
                chunk[i].gx = s->gx; chunk[i].gy = s->gy;
                chunk[i].gz = s->gz;
                chunk[i].temp_raw = s->temp_raw;
                chunk[i].seq16 = s->seq16;
            }
            barrier_dmem_fence_full();   /* copies done before slots free */
            tail += n;
            sh->tail = tail;
            drained_total += n;

            imu_log_append(chunk, n);

            imu_stream_sink_t sink = stream_sink;
            if (sink != NULL) {
                sink(chunk, n);
            }
        }
    }
}

K_THREAD_DEFINE(imu_pump_tid, PUMP_STACK_SIZE, pump_thread,
                NULL, NULL, NULL, PUMP_PRIO, 0, 0);

int imu_pump_init(void)
{
    /* Thread starts automatically (K_THREAD_DEFINE); nothing else */
    return 0;
}
```

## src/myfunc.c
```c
#include "myfunc.h"

int sum(int a, int b) {
    return a + b;
}
```

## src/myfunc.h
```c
#ifndef MYFUNC_H
#define MYFUNC_H
int sum(int a, int b);
#endif
```

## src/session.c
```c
/*
 * Session orchestration — see session.h.
 * Logic moved from ble_interface.c in the app/adapter split.
 */

#include "session.h"
#include "settings_store.h"
#include "imu_log.h"
#include "interface/ble_interface.h"
#include "interface/ble_transport.h"
#include "common/imu_shared.h"

#include <zephyr/kernel.h>
#include <zephyr/sys/barrier.h>
#include <zephyr/logging/log.h>

LOG_MODULE_REGISTER(session, LOG_LEVEL_INF);

/* ---- wall clock ---------------------------------------------------------- */

/* epoch seconds at device boot (uptime 0); 0 = never synced */
static uint32_t wall_epoch_at_boot;

void session_time_sync(uint32_t epoch)
{
    wall_epoch_at_boot = epoch - (uint32_t)(k_uptime_get() / 1000);
    LOG_INF("wall clock synced (epoch %u)", epoch);
}

uint32_t session_wall_now(void)
{
    if (wall_epoch_at_boot == 0) {
        return 0;
    }
    return wall_epoch_at_boot + (uint32_t)(k_uptime_get() / 1000);
}

/* ---- on-demand sampling arbiter ------------------------------------------ */

/* The IMU is powered down unless someone needs data: a running log
 * session or a subscribed live stream.  Config changes while idle are
 * remembered (settings) and applied on the next enable.
 */

static bool stream_active;

bool session_imu_demand(void)
{
    return stream_active || imu_log_active();
}

void session_imu_run_update(void)
{
    struct imu_shared *sh = IMU_SHARED;

    if (sh->magic != IMU_SHARED_MAGIC) {
        return;
    }

    uint8_t content = session_imu_demand()
        ? (uint8_t)settings_get(SETTING_IMU_CONTENT) : 0;

    sh->cfg_odr = (uint8_t)settings_get(SETTING_IMU_ODR_CODE);
    sh->cfg_content = content;
    sh->cfg_accel_fs = (uint8_t)settings_get(SETTING_IMU_ACCEL_FS);
    sh->cfg_gyro_fs = (uint8_t)settings_get(SETTING_IMU_GYRO_FS);
    barrier_dmem_fence_full();
    sh->cfg_seq = sh->cfg_seq + 1;

    ble_transport_stream_update_decim();
    LOG_INF("IMU %s (odr code %u)", content ? "RUNNING" : "powered down",
            sh->cfg_odr);
}

void session_set_stream_active(bool active)
{
    stream_active = active;
    session_imu_run_update();
}

/* ---- log session lifecycle ----------------------------------------------- */

void session_on_log_started(void)
{
    /* Wide connection interval while logging: every radio event
     * blocks an MPSL flash timeslot, and at high ODR the log writer
     * needs that air time more than the (capped) preview does.
     */
    ble_conn_request_params(true);
    session_imu_run_update();
}

void session_on_log_stopped(void)
{
    ble_conn_request_params(false);
    session_imu_run_update();
}

void session_on_disconnect(void)
{
    /* Stop per-connection data flows (CCC state is not bonded) and
     * close a running log session — a session ends at the stop click
     * or at connection loss, whichever comes first.
     */
    stream_active = false;
    ble_transport_stream_enable(false);
    ble_transport_dump_abort();
    imu_log_stop();
    session_imu_run_update();
}
```
